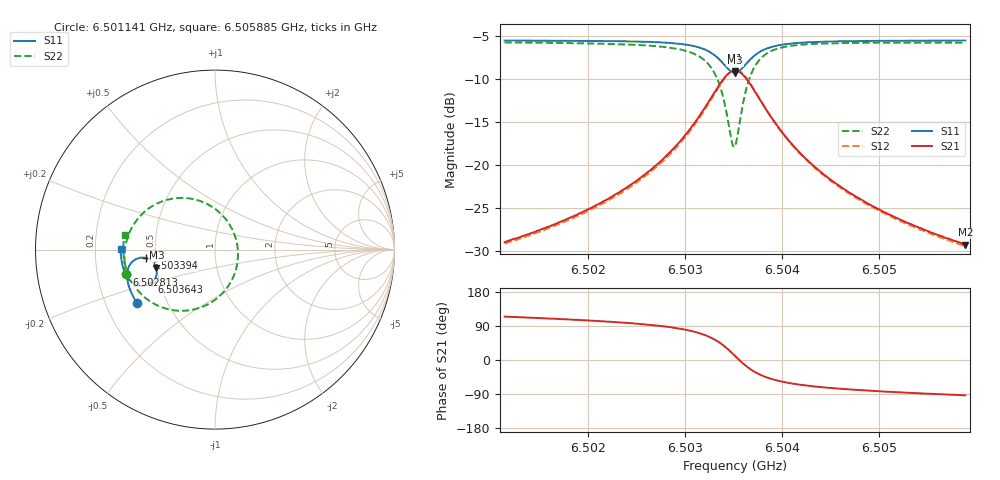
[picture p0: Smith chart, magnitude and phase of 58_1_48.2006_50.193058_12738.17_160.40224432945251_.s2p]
#  HZ  S  RI  R  50.00
! Rohde & Schwarz Vector Network Analyzer
! Rohde-Schwarz,ZNB20-2Port,1311601062101988,3.16
! Created: UTC 3/20/2024, 11:38:39 AM
! freq[Hz]  re:S11  im:S11  re:S21  im:S21  re:S12  im:S12  re:S22  im:S22
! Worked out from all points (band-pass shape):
!   401 points, 6.501141 GHz to 6.505885 GHz, reference 50 ohm
!   highest |S21| = -9.08 dB at 6.503513 GHz (marker M1); lowest = -29.3 dB at 6.505885 GHz (marker M2)
!   |S21| within 3 dB of the highest: 6.503275 GHz to 6.503749 GHz (474.1 kHz wide, 0.00729 % of centre)
!   lowest |S11| = -9.3 dB at 6.503513 GHz (marker M3), VSWR 2.04, Z = 24.9 - j5.71 ohm
!   |S11| at or under -10 dB: nowhere
!   |S22| runs from -17.9 to -5.8 dB; largest |S21 - S12| = 0.012
!   S11 on the Smith chart (normalised r, x): 6.501141 GHz: 0.34, -0.28; 6.502813 GHz: 0.33, -0.13; 6.503394 GHz: 0.45, -0.05; 6.503643 GHz: 0.46, -0.20; 6.505885 GHz: 0.31, +0.00
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6.5011412e9  -0.4348 -0.2968  -0.0148 0.0324  -0.013 0.0323  -0.4947 -0.1357
6.5019358e9  -0.4678 -0.2363  -0.0138 0.0509  -0.0115 0.0504  -0.5045 -0.0477
6.502339e9  -0.4815 -0.1996  -0.0109 0.0693  -0.0079 0.0682  -0.5001 0.0122
6.5027303e9  -0.4898 -0.1547  -0.000482 0.1026  0.00309 0.1001  -0.4767 0.0947
6.5028133e9  -0.4903 -0.143  0.00438 0.1134  0.00831 0.1104  -0.4656 0.118
6.5030149e9  -0.4853 -0.1089  0.0281 0.1492  0.0317 0.1446  -0.4164 0.1877
6.5031572e9  -0.4703 -0.0788  0.0673 0.1838  0.0698 0.1778  -0.3404 0.2474
6.5032995e9  -0.4307 -0.0491  0.1524 0.2129  0.1528 0.2065  -0.1852 0.2881
6.5033944e9  -0.3823 -0.0469  0.2472 0.1947  0.247 0.1902  -0.0207 0.2413
6.5034774e9  -0.338 -0.0779  0.3276 0.1165  0.3301 0.1123  0.1076 0.0864
6.503513e9  -0.3268 -0.1012  0.3454 0.0656  0.3492 0.0602  0.1281 -0.00922
6.5035367e9  -0.3239 -0.1181  0.3483 0.0299  0.3527 0.0229  0.1246 -0.0754
6.5035723e9  -0.3264 -0.1431  0.3401 -0.0221  0.3441 -0.0314  0.095 -0.1675
6.5036434e9  -0.3496 -0.1815  0.2911 -0.1006  0.291 -0.1126  -0.0212 -0.294
6.5036908e9  -0.3711 -0.1955  0.2494 -0.1298  0.2465 -0.1418  -0.1085 -0.3311
6.5037501e9  -0.3967 -0.2023  0.2007 -0.1465  0.1952 -0.1568  -0.2042 -0.3406
6.5039043e9  -0.4452 -0.193  0.1141 -0.142  0.1067 -0.1472  -0.3602 -0.2894
6.5040703e9  -0.4737 -0.1717  0.0671 -0.1199  0.0605 -0.1222  -0.4357 -0.2204
6.5043075e9  -0.4952 -0.142  0.0356 -0.0936  0.0305 -0.0942  -0.481 -0.1453
6.5046632e9  -0.511 -0.1035  0.0157 -0.0687  0.0123 -0.0684  -0.5041 -0.0688
6.505102e9  -0.5205 -0.0619  0.00542 -0.051  0.00309 -0.0505  -0.5107 -0.0028
6.5058847e9  -0.526 0.00522  -0.00202 -0.0343  -0.00328 -0.0335  -0.5038 0.0835
